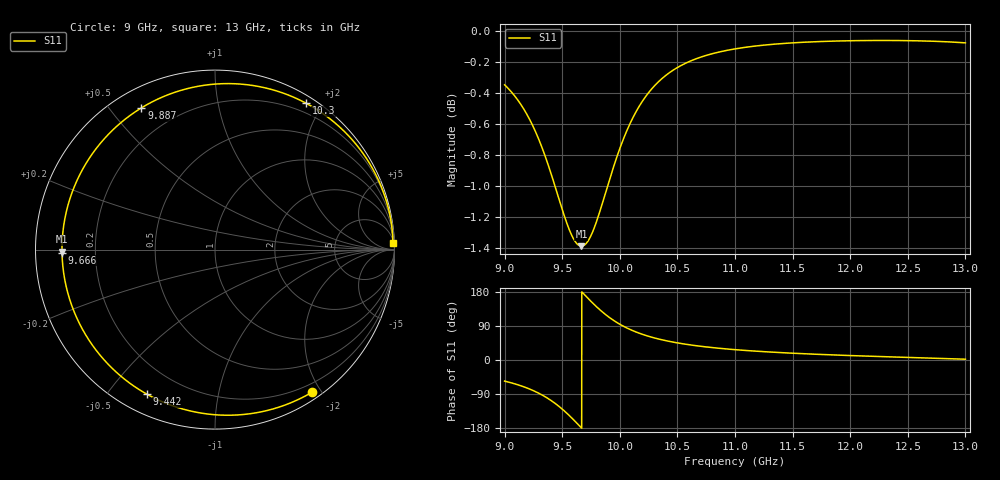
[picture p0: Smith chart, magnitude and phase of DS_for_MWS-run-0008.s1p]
! TOUCHSTONE file generated by CST DESIGN STUDIO
! Date and time: Tue Feb  4 16:07:20 2025
! Project name: C:\Work\MatlabApps\UnitCellOptimizationMatlab\CST\unitcell.cst
! Tree item: Tasks\Sweep1\SPara1\S-Parameters
! Header version: 2024
! Port assignment regex: !\s*Touchstone port\s*([0-9]+)\s*=\s*(CST MWS port|CST DES external port|CST DES block port)\s*(.+)\s* \(\"(.*)\"\)(\s*mode\s*([0-9]+))?.*
! Touchstone port assignment:
! Touchstone port 1 = CST DES external port 1 ("")
# GHz S MA R 50
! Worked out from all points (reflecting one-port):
!   4001 points, 9 GHz to 13 GHz, reference 50 ohm
!   lowest |S11| = -1.4 dB at 9.667 GHz (marker M1), VSWR 12.57, Z = 3.98 - j0.335 ohm
!   phase of S11 starts at -56 deg and turns -302 deg over the sweep
!   S11 on the Smith chart (normalised r, x): 9 GHz: 0.09, -1.89; 9.442 GHz: 0.08, -0.63; 9.666 GHz: 0.08, -0.01; 9.887 GHz: 0.08, +0.61; 10.3 GHz: 0.09, +1.80; 13 GHz: 12, +52
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9  0.9611 -55.7
9.113  0.9505 -65.2
9.225  0.9355 -77.6
9.345  0.9131 -95.7
9.395  0.9017 -105.2
9.442  0.8903 -115.3
9.5  0.8762 -129.5
9.544  0.8665 -141.5
9.591  0.8582 -155.4
9.629  0.854 -167.1
9.666  0.8526 -178.9
9.667  0.8526 -179.2
9.713  0.8547 166.1
9.761  0.8611 151.3
9.824  0.8742 133.3
9.887  0.8897 117.4
9.941  0.9032 105.5
10  0.9167 94.4
10.071  0.9308 83.1
10.143  0.9424 73.7
10.301  0.9604 58.2
10.5  0.9736 45.1
10.719  0.9816 35.6
11  0.9871 27.3
11.5  0.9916 17.9
12  0.9931 11.7
12.5  0.9932 6.8
13  0.9916 2.1
